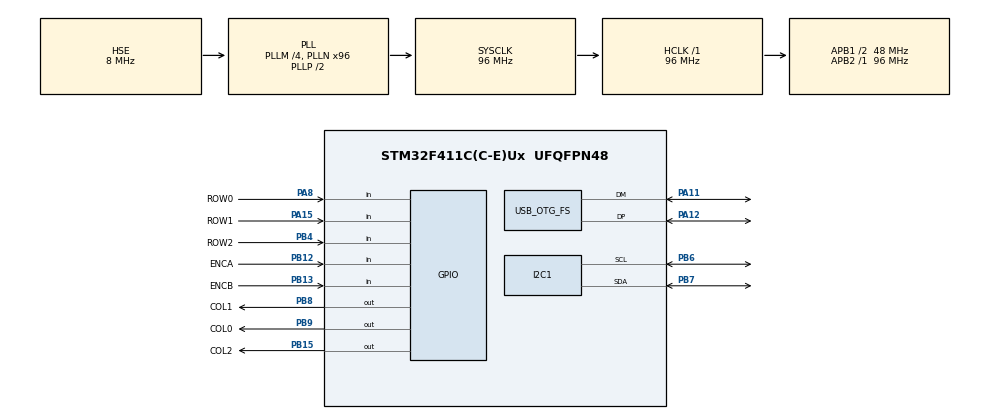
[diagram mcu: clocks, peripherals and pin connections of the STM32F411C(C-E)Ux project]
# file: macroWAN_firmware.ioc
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I2C1.I2C_Mode=I2C_Fast
Mcu.Family=STM32F4
Mcu.Name=STM32F411C(C-E)Ux
Mcu.Package=UFQFPN48
NVIC.OTG_FS_IRQn=true\:0\:0\:false\:false\:true\:false\:true\:true
NVIC.PriorityGroup=NVIC_PRIORITYGROUP_4
PA11.Mode=Device_Only
PA11.Signal=USB_OTG_FS_DM
PA12.Mode=Device_Only
PA12.Signal=USB_OTG_FS_DP
PA13.Mode=Serial_Wire
PA13.Signal=SYS_JTMS-SWDIO
PA14.Mode=Serial_Wire
PA14.Signal=SYS_JTCK-SWCLK
PA15.GPIO_Label=ROW1
PA15.GPIO_PuPd=GPIO_PULLUP
PA15.Signal=GPIO_Input
PA8.GPIO_Label=ROW0
PA8.GPIO_PuPd=GPIO_PULLUP
PA8.Signal=GPIO_Input
PB12.GPIO_Label=ENCA
PB12.GPIO_PuPd=GPIO_PULLUP
PB12.Signal=GPIO_Input
PB13.GPIO_Label=ENCB
PB13.GPIO_PuPd=GPIO_PULLUP
PB13.Signal=GPIO_Input
PB15.GPIO_Label=COL2
PB15.Signal=GPIO_Output
PB4.GPIO_Label=ROW2
PB4.GPIO_PuPd=GPIO_PULLUP
PB4.Signal=GPIO_Input
PB6.Mode=I2C
PB6.Signal=I2C1_SCL
PB7.Mode=I2C
PB7.Signal=I2C1_SDA
PB8.GPIO_Label=COL1
PB8.Signal=GPIO_Output
PB9.GPIO_Label=COL0
PB9.Signal=GPIO_Output
PH0\ -\ OSC_IN.Mode=HSE-External-Oscillator
PH0\ -\ OSC_IN.Signal=RCC_OSC_IN
PH1\ -\ OSC_OUT.Mode=HSE-External-Oscillator
PH1\ -\ OSC_OUT.Signal=RCC_OSC_OUT
ProjectManager.HeapSize=0x200
ProjectManager.StackSize=0x400
ProjectManager.TargetToolchain=STM32CubeIDE
RCC.48MHZClocksFreq_Value=48000000
RCC.AHBFreq_Value=96000000
RCC.APB1CLKDivider=RCC_HCLK_DIV2
RCC.APB1Freq_Value=48000000
RCC.APB1TimFreq_Value=96000000
RCC.APB2Freq_Value=96000000
RCC.APB2TimFreq_Value=96000000
RCC.CortexFreq_Value=96000000
RCC.HCLKFreq_Value=96000000
RCC.HSE_VALUE=8000000
RCC.HSI_VALUE=16000000
RCC.LSE_VALUE=32768
RCC.PLLM=4
RCC.PLLN=96
RCC.SYSCLKFreq_VALUE=96000000
RCC.SYSCLKSource=RCC_SYSCLKSOURCE_PLLCLK
RCC.VCOOutputFreq_Value=192000000
USB_DEVICE.CLASS_NAME_FS=CUSTOM_HID
USB_DEVICE.USBD_CUSTOMHID_OUTREPORT_BUF_SIZE=9
USB_DEVICE.VirtualMode=CustomHid
USB_DEVICE.VirtualModeFS=Custom_Hid_FS
USB_OTG_FS.VirtualMode=Device_Only
VP_USB_DEVICE_VS_USB_DEVICE_CUSTOM_HID_FS.Mode=CUSTOM_HID_FS
board=custom

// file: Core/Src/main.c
/* USER CODE BEGIN Header */
/**
  ******************************************************************************
  * @file           : main.c
  * @brief          : Main program body
  ******************************************************************************
  * @attention
  *
  * Copyright (c) 2025 STMicroelectronics.
  * All rights reserved.
  *
  * This software is licensed under terms that can be found in the LICENSE file
  * in the root directory of this software component.
  * If no LICENSE file comes with this software, it is provided AS-IS.
  *
  ******************************************************************************
  */
/* USER CODE END Header */
#include "main.h"

/* USER CODE BEGIN Includes */
#include "matrix_scan.h"
#include "encoder_scan.h"
#include "usb_device.h"
#include "ssd1306.h"
#include <macropad_USB_handler.h>
#include "stdbool.h"
/* USER CODE END Includes */

I2C_HandleTypeDef hi2c1;

/* USER CODE BEGIN PV */
uint8_t previous_volume = 255;
volatile uint8_t current_volume = 0;
volatile bool volume_flag = false;
uint32_t encoder_previous_time = 0;
uint8_t encoder_release_flag = 0;
/* USER CODE END PV */

void SystemClock_Config(void);
static void MX_GPIO_Init(void);
static void MX_I2C1_Init(void);

int main(void)
{

  /* USER CODE BEGIN 1 */
  uint32_t previous_tick = 0;

  /* USER CODE END 1 */

  /* MCU Configuration--------------------------------------------------------*/

  /* Reset of all peripherals, Initializes the Flash interface and the Systick. */
  HAL_Init();

  /* Configure the system clock */
  SystemClock_Config();

  /* Initialize all configured peripherals */
  MX_GPIO_Init();
  MX_I2C1_Init();
  MX_USB_DEVICE_Init();
  /* USER CODE BEGIN 2 */
  keypad_init();
  ssd1306_Init();
  /* USER CODE END 2 */

  /* Infinite loop */
  /* USER CODE BEGIN WHILE */
  while (1)
  {
    // Scan keypad matrix
    uint32_t current_tick = HAL_GetTick();
    if(current_tick - previous_tick > 0){
      matrix_scan();
      encoder_scan();

      if(encoder_release_flag && (HAL_GetTick() - encoder_previous_time) > 10){
        send_encoder_HID_report(0x00);
        encoder_release_flag = 0;
      }

      previous_tick = current_tick;
    }

    // Update display with value if different
    if(volume_flag && current_volume != previous_volume){
      update_display(current_volume);
      previous_volume = current_volume;
      volume_flag = false;
    }

    /* USER CODE END WHILE */

  }
}

void SystemClock_Config(void)
{
  RCC_OscInitTypeDef RCC_OscInitStruct = {0};
  RCC_ClkInitTypeDef RCC_ClkInitStruct = {0};

  /** Configure the main internal regulator output voltage
  */
  __HAL_RCC_PWR_CLK_ENABLE();
  __HAL_PWR_VOLTAGESCALING_CONFIG(PWR_REGULATOR_VOLTAGE_SCALE1);

  /** Initializes the RCC Oscillators according to the specified parameters
  * in the RCC_OscInitTypeDef structure.
  */
  RCC_OscInitStruct.OscillatorType = RCC_OSCILLATORTYPE_HSE;
  RCC_OscInitStruct.HSEState = RCC_HSE_ON;
  RCC_OscInitStruct.PLL.PLLState = RCC_PLL_ON;
  RCC_OscInitStruct.PLL.PLLSource = RCC_PLLSOURCE_HSE;
  RCC_OscInitStruct.PLL.PLLM = 4;
  RCC_OscInitStruct.PLL.PLLN = 96;
  RCC_OscInitStruct.PLL.PLLP = RCC_PLLP_DIV2;
  RCC_OscInitStruct.PLL.PLLQ = 4;
  if (HAL_RCC_OscConfig(&RCC_OscInitStruct) != HAL_OK)
  {
    Error_Handler();
  }

  /** Initializes the CPU, AHB and APB buses clocks
  */
  RCC_ClkInitStruct.ClockType = RCC_CLOCKTYPE_HCLK|RCC_CLOCKTYPE_SYSCLK
                              |RCC_CLOCKTYPE_PCLK1|RCC_CLOCKTYPE_PCLK2;
  RCC_ClkInitStruct.SYSCLKSource = RCC_SYSCLKSOURCE_PLLCLK;
  RCC_ClkInitStruct.AHBCLKDivider = RCC_SYSCLK_DIV1;
  RCC_ClkInitStruct.APB1CLKDivider = RCC_HCLK_DIV2;
  RCC_ClkInitStruct.APB2CLKDivider = RCC_HCLK_DIV1;

  if (HAL_RCC_ClockConfig(&RCC_ClkInitStruct, FLASH_LATENCY_3) != HAL_OK)
  {
    Error_Handler();
  }
}

static void MX_I2C1_Init(void)
{

  hi2c1.Instance = I2C1;
  hi2c1.Init.ClockSpeed = 400000;
  hi2c1.Init.DutyCycle = I2C_DUTYCYCLE_2;
  hi2c1.Init.OwnAddress1 = 0;
  hi2c1.Init.AddressingMode = I2C_ADDRESSINGMODE_7BIT;
  hi2c1.Init.DualAddressMode = I2C_DUALADDRESS_DISABLE;
  hi2c1.Init.OwnAddress2 = 0;
  hi2c1.Init.GeneralCallMode = I2C_GENERALCALL_DISABLE;
  hi2c1.Init.NoStretchMode = I2C_NOSTRETCH_DISABLE;
  if (HAL_I2C_Init(&hi2c1) != HAL_OK)
  {
    Error_Handler();
  }

}

static void MX_GPIO_Init(void)
{
  GPIO_InitTypeDef GPIO_InitStruct = {0};

  /* GPIO Ports Clock Enable */
  __HAL_RCC_GPIOH_CLK_ENABLE();
  __HAL_RCC_GPIOB_CLK_ENABLE();
  __HAL_RCC_GPIOA_CLK_ENABLE();

  /*Configure GPIO pin Output Level */
  HAL_GPIO_WritePin(GPIOB, COL2_Pin|COL1_Pin|COL0_Pin, GPIO_PIN_RESET);

  /*Configure GPIO pins : ENCA_Pin ENCB_Pin ROW2_Pin */
  GPIO_InitStruct.Pin = ENCA_Pin|ENCB_Pin|ROW2_Pin;
  GPIO_InitStruct.Mode = GPIO_MODE_INPUT;
  GPIO_InitStruct.Pull = GPIO_PULLUP;
  HAL_GPIO_Init(GPIOB, &GPIO_InitStruct);

  /*Configure GPIO pins : COL2_Pin COL1_Pin COL0_Pin */
  GPIO_InitStruct.Pin = COL2_Pin|COL1_Pin|COL0_Pin;
  GPIO_InitStruct.Mode = GPIO_MODE_OUTPUT_PP;
  GPIO_InitStruct.Pull = GPIO_NOPULL;
  GPIO_InitStruct.Speed = GPIO_SPEED_FREQ_LOW;
  HAL_GPIO_Init(GPIOB, &GPIO_InitStruct);

  /*Configure GPIO pins : ROW0_Pin ROW1_Pin */
  GPIO_InitStruct.Pin = ROW0_Pin|ROW1_Pin;
  GPIO_InitStruct.Mode = GPIO_MODE_INPUT;
  GPIO_InitStruct.Pull = GPIO_PULLUP;
  HAL_GPIO_Init(GPIOA, &GPIO_InitStruct);

}

void Error_Handler(void)
{
  __disable_irq();
  while (1)
  {
  }
}
